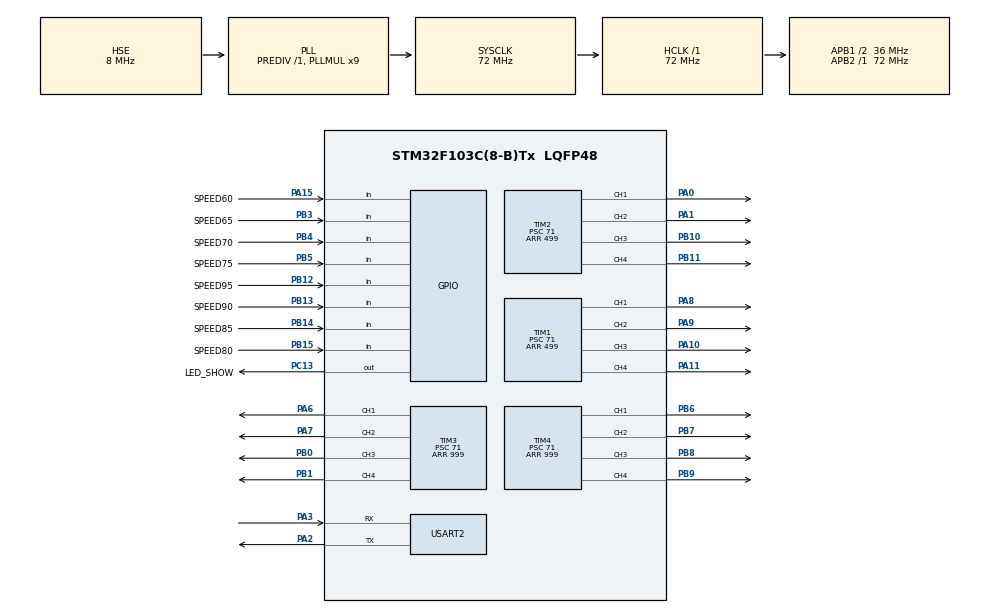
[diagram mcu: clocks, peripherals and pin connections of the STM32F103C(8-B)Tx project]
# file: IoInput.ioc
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Mcu.Family=STM32F1
Mcu.Name=STM32F103C(8-B)Tx
Mcu.Package=LQFP48
NVIC.PriorityGroup=NVIC_PRIORITYGROUP_4
NVIC.USART2_IRQn=true\:3\:0\:true\:false\:true\:true\:true
PA0-WKUP.Signal=S_TIM2_CH1_ETR
PA1.Signal=S_TIM2_CH2
PA10.Signal=S_TIM1_CH3
PA11.Signal=S_TIM1_CH4
PA13.Mode=Serial_Wire
PA13.Signal=SYS_JTMS-SWDIO
PA14.Mode=Serial_Wire
PA14.Signal=SYS_JTCK-SWCLK
PA15.GPIO_Label=SPEED60
PA15.GPIO_PuPd=GPIO_PULLUP
PA15.Signal=GPIO_Input
PA2.Mode=Asynchronous
PA2.Signal=USART2_TX
PA3.Mode=Asynchronous
PA3.Signal=USART2_RX
PA6.Signal=S_TIM3_CH1
PA7.Signal=S_TIM3_CH2
PA8.Signal=S_TIM1_CH1
PA9.Signal=S_TIM1_CH2
PB0.Signal=S_TIM3_CH3
PB1.Signal=S_TIM3_CH4
PB10.Signal=S_TIM2_CH3
PB11.Signal=S_TIM2_CH4
PB12.GPIO_Label=SPEED95
PB12.GPIO_PuPd=GPIO_PULLUP
PB12.Signal=GPIO_Input
PB13.GPIO_Label=SPEED90
PB13.GPIO_PuPd=GPIO_PULLUP
PB13.Signal=GPIO_Input
PB14.GPIO_Label=SPEED85
PB14.GPIO_PuPd=GPIO_PULLUP
PB14.Signal=GPIO_Input
PB15.GPIO_Label=SPEED80
PB15.GPIO_PuPd=GPIO_PULLUP
PB15.Signal=GPIO_Input
PB3.GPIO_Label=SPEED65
PB3.GPIO_PuPd=GPIO_PULLUP
PB3.Signal=GPIO_Input
PB4.GPIO_Label=SPEED70
PB4.GPIO_PuPd=GPIO_PULLUP
PB4.Signal=GPIO_Input
PB5.GPIO_Label=SPEED75
PB5.GPIO_PuPd=GPIO_PULLUP
PB5.Signal=GPIO_Input
PB6.Signal=S_TIM4_CH1
PB7.Signal=S_TIM4_CH2
PB8.Signal=S_TIM4_CH3
PB9.Signal=S_TIM4_CH4
PC13-TAMPER-RTC.GPIO_Label=LED_SHOW
PC13-TAMPER-RTC.Signal=GPIO_Output
PC14-OSC32_IN.Mode=LSE-External-Oscillator
PC14-OSC32_IN.Signal=RCC_OSC32_IN
PC15-OSC32_OUT.Mode=LSE-External-Oscillator
PC15-OSC32_OUT.Signal=RCC_OSC32_OUT
PD0-OSC_IN.Mode=HSE-External-Oscillator
PD0-OSC_IN.Signal=RCC_OSC_IN
PD1-OSC_OUT.Mode=HSE-External-Oscillator
PD1-OSC_OUT.Signal=RCC_OSC_OUT
ProjectManager.HeapSize=0x200
ProjectManager.StackSize=0x400
ProjectManager.TargetToolchain=MDK-ARM V5
RCC.AHBFreq_Value=72000000
RCC.APB1CLKDivider=RCC_HCLK_DIV2
RCC.APB1Freq_Value=36000000
RCC.APB1TimFreq_Value=72000000
RCC.APB2Freq_Value=72000000
RCC.APB2TimFreq_Value=72000000
RCC.HCLKFreq_Value=72000000
RCC.PLLMUL=RCC_PLL_MUL9
RCC.PLLSourceVirtual=RCC_PLLSOURCE_HSE
RCC.SYSCLKFreq_VALUE=72000000
RCC.SYSCLKSource=RCC_SYSCLKSOURCE_PLLCLK
RCC.USBFreq_Value=72000000
SH.S_TIM1_CH1.0=TIM1_CH1,PWM Generation1 CH1
SH.S_TIM1_CH2.0=TIM1_CH2,PWM Generation2 CH2
SH.S_TIM1_CH3.0=TIM1_CH3,PWM Generation3 CH3
SH.S_TIM1_CH4.0=TIM1_CH4,PWM Generation4 CH4
SH.S_TIM2_CH1_ETR.0=TIM2_CH1,PWM Generation1 CH1
SH.S_TIM2_CH2.0=TIM2_CH2,PWM Generation2 CH2
SH.S_TIM2_CH3.0=TIM2_CH3,PWM Generation3 CH3
SH.S_TIM2_CH4.0=TIM2_CH4,PWM Generation4 CH4
SH.S_TIM3_CH1.0=TIM3_CH1,PWM Generation1 CH1
SH.S_TIM3_CH2.0=TIM3_CH2,PWM Generation2 CH2
SH.S_TIM3_CH3.0=TIM3_CH3,PWM Generation3 CH3
SH.S_TIM3_CH4.0=TIM3_CH4,PWM Generation4 CH4
SH.S_TIM4_CH1.0=TIM4_CH1,PWM Generation1 CH1
SH.S_TIM4_CH2.0=TIM4_CH2,PWM Generation2 CH2
SH.S_TIM4_CH3.0=TIM4_CH3,PWM Generation3 CH3
SH.S_TIM4_CH4.0=TIM4_CH4,PWM Generation4 CH4
TIM1.Channel-PWM\ Generation1\ CH1=TIM_CHANNEL_1
TIM1.Channel-PWM\ Generation2\ CH2=TIM_CHANNEL_2
TIM1.Channel-PWM\ Generation3\ CH3=TIM_CHANNEL_3
TIM1.Channel-PWM\ Generation4\ CH4=TIM_CHANNEL_4
TIM1.Period=499
TIM1.Prescaler=71
TIM2.Channel-PWM\ Generation1\ CH1=TIM_CHANNEL_1
TIM2.Channel-PWM\ Generation2\ CH2=TIM_CHANNEL_2
TIM2.Channel-PWM\ Generation3\ CH3=TIM_CHANNEL_3
TIM2.Channel-PWM\ Generation4\ CH4=TIM_CHANNEL_4
TIM2.Period=499
TIM2.Prescaler=71
TIM3.Channel-PWM\ Generation1\ CH1=TIM_CHANNEL_1
TIM3.Channel-PWM\ Generation2\ CH2=TIM_CHANNEL_2
TIM3.Channel-PWM\ Generation3\ CH3=TIM_CHANNEL_3
TIM3.Channel-PWM\ Generation4\ CH4=TIM_CHANNEL_4
TIM3.Period=999
TIM3.Prescaler=71
TIM4.Channel-PWM\ Generation1\ CH1=TIM_CHANNEL_1
TIM4.Channel-PWM\ Generation2\ CH2=TIM_CHANNEL_2
TIM4.Channel-PWM\ Generation3\ CH3=TIM_CHANNEL_3
TIM4.Channel-PWM\ Generation4\ CH4=TIM_CHANNEL_4
TIM4.Period=999
TIM4.Prescaler=71
USART2.VirtualMode=VM_ASYNC
board=custom

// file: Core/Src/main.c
/* USER CODE BEGIN Header */
/**
  ******************************************************************************
  * @file           : main.c
  * @brief          : Main program body
  ******************************************************************************
  * @attention
  *
  * <h2><center>&copy; Copyright (c) 2020 STMicroelectronics.
  * All rights reserved.</center></h2>
  *
  * This software component is licensed by ST under BSD 3-Clause license,
  * the "License"; You may not use this file except in compliance with the
  * License. You may obtain a copy of the License at:
  *                        opensource.org/licenses/BSD-3-Clause
  *
  ******************************************************************************
  */
/* USER CODE END Header */
#include "main.h"
#include "tim.h"
#include "usart.h"
#include "gpio.h"

/* USER CODE BEGIN PD */
#define USART_REC_LEN  			100  	//定义最大接收字节数 200
#define RXBUFFERSIZE   			1 		//缓存大小
/* USER CODE END PD */

/* USER CODE BEGIN PM */
uint8_t USART2_RX_BUF[USART_REC_LEN]; //接收缓冲,最大USART_REC_LEN个字节.
uint16_t USART2_RX_STA = 0; //接收状态标记
uint8_t aRxBuffer2[RXBUFFERSIZE];		  //HAL库使用的串口接收缓冲
BaseSerialData SBUS_CH;
/* USER CODE END PM */

void SystemClock_Config(void);

/* USER CODE BEGIN 0 */
int rec_cnt = 0;

int PWMcenter =1500;
int PWMlow = 1000;
int PWMhigh = 2000;

int PWM_CH1_rec = 1500;
int PWM_CH2_rec = 1500;
int PWM_CH3_rec = 1500;
int PWM_CH4_rec = 1500;

float x_angle = 0.0;
float y_angle = 0.0;
float z_angle = 0.0;
float init_z_angle = 0.0;

int init_z_flag = 0;

/* USER CODE END 0 */

int main(void)
{
  /* USER CODE BEGIN 1 */
	float speed_low = 1.0;
	//uint8_t send_data[5] = {0xA1, 0xF1, 0x1C, 0x2F, 0x33};

  /* USER CODE END 1 */

  /* MCU Configuration--------------------------------------------------------*/

  /* Reset of all peripherals, Initializes the Flash interface and the Systick. */
  HAL_Init();

  /* Configure the system clock */
  SystemClock_Config();

  /* Initialize all configured peripherals */
  MX_GPIO_Init();
  MX_TIM4_Init();
  MX_TIM2_Init();
  MX_TIM3_Init();
  MX_USART2_UART_Init();
  MX_TIM1_Init();
  /* USER CODE BEGIN 2 */
	HAL_UART_Receive_IT(&huart2, (uint8_t *)aRxBuffer2, RXBUFFERSIZE); //该函数会开启接收中断：标志位UART_IT_RXNE，并且设置接收缓冲以及接收缓冲接收最大数据量
	//HAL_TIM_Base_Start_IT(&htim2);
	HAL_TIM_PWM_Start(&htim1,TIM_CHANNEL_1);
	HAL_TIM_PWM_Start(&htim1,TIM_CHANNEL_2);
	HAL_TIM_PWM_Start(&htim1,TIM_CHANNEL_3);
	HAL_TIM_PWM_Start(&htim1,TIM_CHANNEL_4);
	HAL_TIM_PWM_Start(&htim2,TIM_CHANNEL_1);
	HAL_TIM_PWM_Start(&htim2,TIM_CHANNEL_2);
	HAL_TIM_PWM_Start(&htim2,TIM_CHANNEL_3);
	HAL_TIM_PWM_Start(&htim2,TIM_CHANNEL_4);

	if (HAL_GPIO_ReadPin(SPEED95_GPIO_Port, SPEED95_Pin) == GPIO_PIN_RESET)
	{
		speed_low = 0.95;
	}
	if (HAL_GPIO_ReadPin(SPEED90_GPIO_Port, SPEED90_Pin) == GPIO_PIN_RESET)
	{
		speed_low = 0.90;
	}
	if (HAL_GPIO_ReadPin(SPEED85_GPIO_Port, SPEED85_Pin) == GPIO_PIN_RESET)
	{
		speed_low = 0.85;
	}
	if (HAL_GPIO_ReadPin(SPEED80_GPIO_Port, SPEED80_Pin) == GPIO_PIN_RESET)
	{
		speed_low = 0.80;
	}

	if (HAL_GPIO_ReadPin(SPEED75_GPIO_Port, SPEED75_Pin) == GPIO_PIN_RESET)
	{
		speed_low = 0.75;
	}
	if (HAL_GPIO_ReadPin(SPEED70_GPIO_Port, SPEED70_Pin) == GPIO_PIN_RESET)
	{
		speed_low = 0.70;
	}
	if (HAL_GPIO_ReadPin(SPEED65_GPIO_Port, SPEED65_Pin) == GPIO_PIN_RESET)
	{
		speed_low = 0.65;
	}
	if (HAL_GPIO_ReadPin(SPEED60_GPIO_Port, SPEED60_Pin) == GPIO_PIN_RESET)
	{
		speed_low = 0.60;
	}

  /* USER CODE END 2 */

  /* Infinite loop */
  /* USER CODE BEGIN WHILE */
	//__HAL_TIM_SET_COMPARE(&htim4, TIM_CHANNEL_1, 1500);
	//__HAL_TIM_SET_COMPARE(&htim4, TIM_CHANNEL_2, 1500);
	//__HAL_TIM_SET_COMPARE(&htim4, TIM_CHANNEL_3, 1500);
	//__HAL_TIM_SET_COMPARE(&htim4, TIM_CHANNEL_4, 1500);
  while (1)
  {
		HAL_Delay(10);
		if (rec_cnt%100 == 0 && rec_cnt > 30)
		{
			HAL_GPIO_TogglePin(LED_SHOW_GPIO_Port,LED_SHOW_Pin);
		}
		if (init_z_flag != 0)
		{
			int z_tmp = 0;
			int x_tmp = 0;
			int y_tmp = 0;

			z_tmp = z_angle - init_z_angle;
			x_tmp = x_angle;
			y_tmp = y_angle;

			if (z_tmp < -180) z_tmp = 180 - (-180 - z_tmp);
			if (z_tmp > 180) z_tmp = -180 + (z_tmp - 180);

			if (abs(z_tmp) < 10) z_tmp = 0;

			if (abs(x_tmp) < 10)
			{
				x_tmp = 0;
			}

			if (abs(y_tmp) < 10) y_tmp = 0;

			float dutyx = 0;
			float dutyy = 0;
			float servo = 0;

			dutyx = -x_tmp/90.f*speed_low;
			dutyy = -y_tmp/90.f*speed_low;
			servo = z_tmp/90.f*speed_low;

			float MOTOR_A = 0;
      float MOTOR_B = 0;
      float MOTOR_C = 0;
      float MOTOR_D = 0;

			MOTOR_A = +dutyx + dutyy - servo * (0.2 + 0.15);
      MOTOR_B = -dutyx + dutyy - servo * (0.2 + 0.15);
			MOTOR_C = +dutyx + dutyy + servo * (0.2 + 0.15);
      MOTOR_D = -dutyx + dutyy + servo * (0.2 + 0.15);

			//1 B
			PWM_CH1_rec = PWMcenter + 800 * MOTOR_B;

			//2 C
			PWM_CH2_rec = PWMcenter + 800 * MOTOR_C;

			//3 A
			PWM_CH3_rec = PWMcenter + 800 * MOTOR_A;

			//4 D
			PWM_CH4_rec = PWMcenter + 800 * MOTOR_D;

		}
		if (rec_cnt++ > 25)
		{
			PWM_CH4_rec = PWM_CH3_rec = PWM_CH2_rec = PWM_CH1_rec = PWMcenter;
		}
		//font left TIM1 CH1 CH2
		int set_pwm = PWM_CH1_rec - PWMcenter;
		if (set_pwm == 0)
		{
			__HAL_TIM_SET_COMPARE(&htim1, TIM_CHANNEL_1, set_pwm);
			__HAL_TIM_SET_COMPARE(&htim1, TIM_CHANNEL_2, set_pwm);
		}
		else if (set_pwm > 0)
		{
			__HAL_TIM_SET_COMPARE(&htim1, TIM_CHANNEL_1, set_pwm);
			__HAL_TIM_SET_COMPARE(&htim1, TIM_CHANNEL_2, 0);
		}
		else
		{
			__HAL_TIM_SET_COMPARE(&htim1, TIM_CHANNEL_1, 0);
			__HAL_TIM_SET_COMPARE(&htim1, TIM_CHANNEL_2, -set_pwm);
		}
		// font right TIM1 CH3 CH4
		set_pwm = PWM_CH2_rec - PWMcenter;
		if (set_pwm == 0)
		{
			__HAL_TIM_SET_COMPARE(&htim1, TIM_CHANNEL_3, set_pwm);
			__HAL_TIM_SET_COMPARE(&htim1, TIM_CHANNEL_4, set_pwm);
		}
		else if (set_pwm > 0)
		{
			__HAL_TIM_SET_COMPARE(&htim1, TIM_CHANNEL_3, set_pwm);
			__HAL_TIM_SET_COMPARE(&htim1, TIM_CHANNEL_4, 0);
		}
		else
		{
			__HAL_TIM_SET_COMPARE(&htim1, TIM_CHANNEL_3, 0);
			__HAL_TIM_SET_COMPARE(&htim1, TIM_CHANNEL_4, -set_pwm);
		}
		// rear left TIM2 CH1 CH2
		set_pwm = PWM_CH3_rec - PWMcenter;
		if (set_pwm == 0)
		{
			__HAL_TIM_SET_COMPARE(&htim2, TIM_CHANNEL_1, set_pwm);
			__HAL_TIM_SET_COMPARE(&htim2, TIM_CHANNEL_2, set_pwm);
		}
		else if (set_pwm > 0)
		{
			__HAL_TIM_SET_COMPARE(&htim2, TIM_CHANNEL_1, set_pwm);
			__HAL_TIM_SET_COMPARE(&htim2, TIM_CHANNEL_2, 0);
		}
		else
		{
			__HAL_TIM_SET_COMPARE(&htim2, TIM_CHANNEL_1, 0);
			__HAL_TIM_SET_COMPARE(&htim2, TIM_CHANNEL_2, -set_pwm);
		}

		// rear right TIM2 CH3 CH4
		set_pwm = PWM_CH4_rec - PWMcenter;
		if (set_pwm == 0)
		{
			__HAL_TIM_SET_COMPARE(&htim2, TIM_CHANNEL_3, set_pwm);
			__HAL_TIM_SET_COMPARE(&htim2, TIM_CHANNEL_4, set_pwm);
		}
		else if (set_pwm > 0)
		{
			__HAL_TIM_SET_COMPARE(&htim2, TIM_CHANNEL_3, set_pwm);
			__HAL_TIM_SET_COMPARE(&htim2, TIM_CHANNEL_4, 0);
		}
		else
		{
			__HAL_TIM_SET_COMPARE(&htim2, TIM_CHANNEL_3, 0);
			__HAL_TIM_SET_COMPARE(&htim2, TIM_CHANNEL_4, -set_pwm);
		}

		//__HAL_TIM_SET_COMPARE(&htim4, TIM_CHANNEL_3, PWM_CH1_rec);
		//__HAL_TIM_SET_COMPARE(&htim4, TIM_CHANNEL_4, PWM_CH2_rec);
		//HAL_UART_Transmit(&huart1,send_data,5,10);
    /* USER CODE END WHILE */

  }
}

void SystemClock_Config(void)
{
  RCC_OscInitTypeDef RCC_OscInitStruct = {0};
  RCC_ClkInitTypeDef RCC_ClkInitStruct = {0};

  /** Initializes the RCC Oscillators according to the specified parameters
  * in the RCC_OscInitTypeDef structure.
  */
  RCC_OscInitStruct.OscillatorType = RCC_OSCILLATORTYPE_HSE;
  RCC_OscInitStruct.HSEState = RCC_HSE_ON;
  RCC_OscInitStruct.HSEPredivValue = RCC_HSE_PREDIV_DIV1;
  RCC_OscInitStruct.HSIState = RCC_HSI_ON;
  RCC_OscInitStruct.PLL.PLLState = RCC_PLL_ON;
  RCC_OscInitStruct.PLL.PLLSource = RCC_PLLSOURCE_HSE;
  RCC_OscInitStruct.PLL.PLLMUL = RCC_PLL_MUL9;
  if (HAL_RCC_OscConfig(&RCC_OscInitStruct) != HAL_OK)
  {
    Error_Handler();
  }
  /** Initializes the CPU, AHB and APB buses clocks
  */
  RCC_ClkInitStruct.ClockType = RCC_CLOCKTYPE_HCLK|RCC_CLOCKTYPE_SYSCLK
                              |RCC_CLOCKTYPE_PCLK1|RCC_CLOCKTYPE_PCLK2;
  RCC_ClkInitStruct.SYSCLKSource = RCC_SYSCLKSOURCE_PLLCLK;
  RCC_ClkInitStruct.AHBCLKDivider = RCC_SYSCLK_DIV1;
  RCC_ClkInitStruct.APB1CLKDivider = RCC_HCLK_DIV2;
  RCC_ClkInitStruct.APB2CLKDivider = RCC_HCLK_DIV1;

  if (HAL_RCC_ClockConfig(&RCC_ClkInitStruct, FLASH_LATENCY_2) != HAL_OK)
  {
    Error_Handler();
  }
}

/* USER CODE BEGIN 4 */

void HAL_TIM_PeriodElapsedCallback(TIM_HandleTypeDef *htim)
{
//	if (htim->Instance == htim2.Instance)
//	{
//		pwmcnt++;
//		if (pwmcnt < PWM_CH1_check)
//		{
//			HAL_GPIO_WritePin(PWM_CH1_GPIO_Port, PWM_CH1_Pin,GPIO_PIN_SET);
//		}else
//		{
//			HAL_GPIO_WritePin(PWM_CH1_GPIO_Port, PWM_CH1_Pin,GPIO_PIN_RESET);
//		}
//
//		if (pwmcnt < PWM_CH2_check)
//		{
//			HAL_GPIO_WritePin(PWM_CH2_GPIO_Port, PWM_CH2_Pin,GPIO_PIN_SET);
//		}else
//		{
//			HAL_GPIO_WritePin(PWM_CH2_GPIO_Port, PWM_CH2_Pin,GPIO_PIN_RESET);
//		}
//		if (pwmcnt >= PWM1ms*10)
//		{
//			PWM_CH1_check = PWM_CH1_rec;
//			PWM_CH2_check = PWM_CH2_rec;
//			pwmcnt = 0;
//		}
//	}
}

int Usart1_Flag = 0;
uint8_t Usart1Rxbuf[38];
int check_sum = 0;
void HAL_UART_RxCpltCallback(UART_HandleTypeDef *huart)
{
	int pwm_rec = 0;
	//float pwm_percent = 0;

	if (huart->Instance == USART2) //如果是串口2
	{
		//HAL_UART_Transmit(&huart1,aRxBuffer2,1,10);
		uint8_t temp;
		static uint8_t U1_count,
									U1_last_data,
									U1_last_last_data;
		temp = aRxBuffer2[0];
		if(Usart1_Flag==0)
		{
			if(U1_last_data==0x53&&U1_last_last_data==0x55)
			{
				Usart1_Flag=1,U1_count=0;
				Usart1Rxbuf[U1_count++] = 0x55;
				Usart1Rxbuf[U1_count++] = 0x53;
				check_sum = 0x55+0x53;
			}
		}

		if(Usart1_Flag==1)
		{

			Usart1Rxbuf[U1_count]=temp;

			U1_count++;
			if (U1_count < 11) check_sum += temp;
			if(U1_count==11)
			{
				Usart1_Flag=0;

				//方向
				if (check_sum % 0x100 == temp)
				{
					HAL_GPIO_TogglePin(LED_SHOW_GPIO_Port,LED_SHOW_Pin);
					rec_cnt = 0;
					int k_angle = 180;

					float x_angle_tmp = (float)((Usart1Rxbuf[3] << 8)|Usart1Rxbuf[2])/32768.f*k_angle;
					float y_angle_tmp = (float)((Usart1Rxbuf[5] << 8)|Usart1Rxbuf[4])/32768.f*k_angle;
					float z_angle_tmp = (float)((Usart1Rxbuf[7] << 8)|Usart1Rxbuf[6])/32768.f*k_angle;

					(x_angle_tmp >= k_angle) ? (x_angle = x_angle_tmp - 2 * k_angle) : (x_angle = x_angle_tmp);
					(y_angle_tmp >= k_angle) ? (y_angle = y_angle_tmp - 2 * k_angle) : (y_angle = y_angle_tmp);
					(z_angle_tmp >= k_angle) ? (z_angle = z_angle_tmp - 2 * k_angle) : (z_angle = z_angle_tmp);

					if (init_z_flag == 0)
					{
						init_z_angle = z_angle;
						init_z_flag = 1;
					}
				}

			}
		}
		else
		{
		  Usart1_Flag =0;
		}

		U1_last_last_data=U1_last_data;
		U1_last_data=temp;

		HAL_UART_Receive_IT(&huart2, (uint8_t *)aRxBuffer2, RXBUFFERSIZE); //该函数会开启接收中断：标志位UART_IT_RXNE，并且设置接收缓冲以及接收缓冲接收最大数据量
	}

}

/* USER CODE END 4 */

void Error_Handler(void)
{
}

/************************ (C) COPYRIGHT STMicroelectronics *****END OF FILE****/
